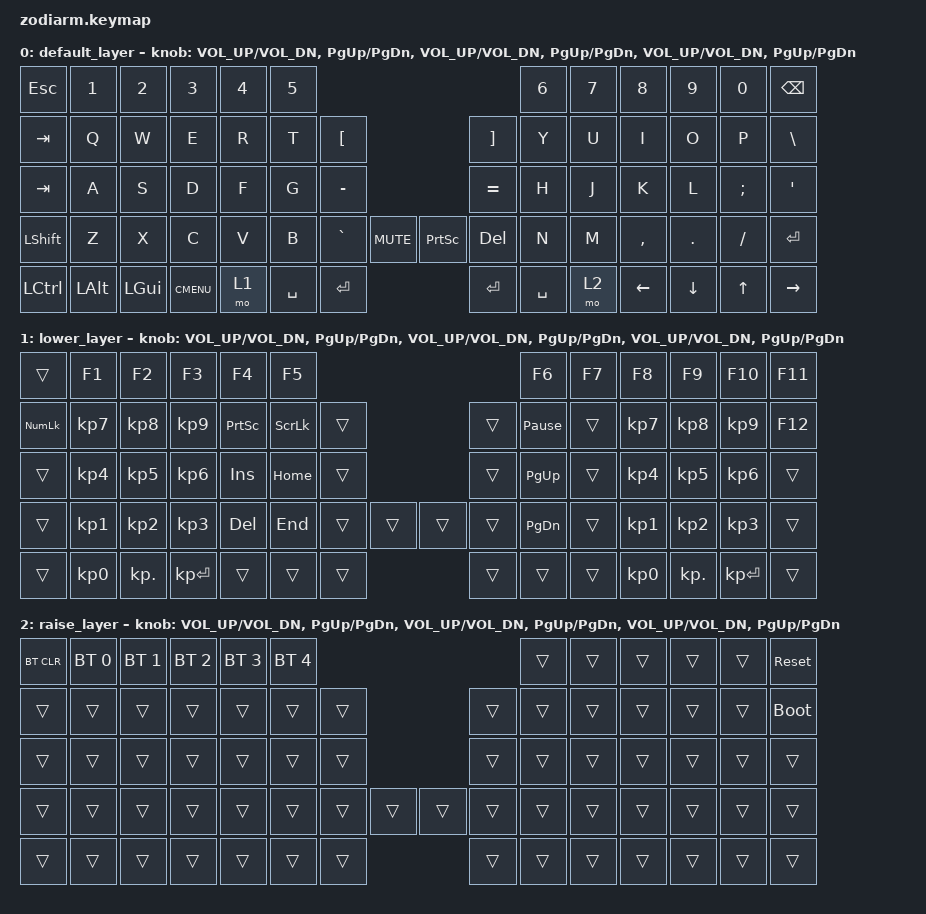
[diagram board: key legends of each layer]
/*
 * Copyright (c) 2020 The ZMK Contributors
 *
 * SPDX-License-Identifier: MIT
 */

#include <behaviors.dtsi>
#include <dt-bindings/zmk/keys.h>
#include <dt-bindings/zmk/bt.h>

/ {
    keymap {
        compatible = "zmk,keymap";

        default_layer {
// ------------------------------------------------------------------------------------------------------------
// |  ESC  |  1  |  2  |  3   |  4   |  5   |                                  |  6   |  7    |  8    |  9   |   0   | BKSPC |
// |  TAB  |  Q  |  W  |  E   |  R   |  T   |   [    |                 |   ]   |  Y   |  U    |  I    |  O   |   P   |   \   |
// |  CAPS |  A  |  S  |  D   |  F   |  G   |   -    |                 |   =   |  H   |  J    |  K    |  L   |   ;   |   '   |
// | SHIFT |  Z  |  X  |  C   |  V   |  B   |   `    | MUTE  | | PRNT  |  DEL  |  N   |  M    |  ,    |  .   |   /   | ENTER |
// | CTRL  | ALT | GUI | MENU | LOWER|     SPACE     | ENTER | | ENTER |    SPACE     | RAISE| LEFT  | DOWN  |  UP   | RIGHT |
            bindings = <
&kp ESC   &kp N1 &kp N2   &kp N3   &kp N4    &kp N5                                           &kp N6 &kp N7 &kp N8    &kp N9   &kp N0   &kp BSPC
&kp TAB   &kp Q  &kp W    &kp E    &kp R     &kp T &kp LBKT                         &kp RBKT  &kp Y  &kp U  &kp I     &kp O    &kp P    &kp BSLH
&kp TAB   &kp A  &kp S    &kp D    &kp F     &kp G &kp MINUS                        &kp EQUAL &kp H  &kp J  &kp K     &kp L    &kp SEMI &kp SQT
&kp LSHFT &kp Z  &kp X    &kp C    &kp V     &kp B &kp GRAVE &kp C_MUTE  &kp PSCRN  &kp DEL   &kp N  &kp M  &kp COMMA &kp DOT  &kp FSLH &kp RET
&kp LCTRL &kp LALT &kp LGUI &kp K_CMENU &mo 1   &kp SPACE    &kp RET     &kp RET      &kp SPACE      &mo 2  &kp LEFT  &kp DOWN &kp UP   &kp RIGHT
            >;

            sensor-bindings = <&inc_dec_kp C_VOL_UP C_VOL_DN &inc_dec_kp PG_UP PG_DN &inc_dec_kp C_VOL_UP C_VOL_DN &inc_dec_kp PG_UP PG_DN &inc_dec_kp C_VOL_UP C_VOL_DN &inc_dec_kp PG_UP PG_DN>;
        };

        lower_layer {
// ------------------------------------------------------------------------------------------------------------
// |       | F1  | F2  |  F3  |  F4  |  F5  |                                  |  F6  |  F7   |  F8   |  F9  |  F10  |  F11  |
// | N.LC  |  7  |  8  |   9  |PRTSC | SCRLK|        |                 |       | PAUSE|       |   7   |   8  |   9   |  F12  |
// |       |  4  |  5  |   6  | INS  | HOME |        |                 |       |  PGUP|       |   4   |   5  |   6   |       |
// |       |  1  |  2  |   3  | DEL  |  END |        |       | |       |       |  PGDN|       |   1   |   2  |   3   |       |
// |       |  0  |  .  | Enter|      |               |       | |       |              |       |   0   |   .  | Enter |       |
            bindings = <
&trans    &kp F1   &kp F2   &kp F3   &kp F4    &kp F5                                     &kp F6          &kp F7  &kp F8    &kp F9   &kp F10  &kp F11
&kp KP_NUM &kp KP_N7 &kp KP_N8 &kp KP_N9  &kp PSCRN &kp SLCK &trans                &trans &kp PAUSE_BREAK &trans  &kp KP_N7 &kp KP_N8 &kp KP_N9   &kp F12
&trans     &kp KP_N4 &kp KP_N5 &kp KP_N6  &kp INS   &kp HOME &trans                &trans &kp PG_UP       &trans  &kp KP_N4 &kp KP_N5 &kp KP_N6   &trans
&trans     &kp KP_N1 &kp KP_N2 &kp KP_N3  &kp DEL   &kp END &trans &trans  &trans  &trans &kp PG_DN       &trans  &kp KP_N1 &kp KP_N2 &kp KP_N3   &trans
&trans     &kp KP_N0 &kp KP_DOT  &kp KP_ENTER &trans &trans &trans         &trans     &trans              &trans  &kp KP_N0 &kp KP_DOT  &kp KP_ENTER &trans
            >;

            sensor-bindings = <&inc_dec_kp C_VOL_UP C_VOL_DN &inc_dec_kp PG_UP PG_DN &inc_dec_kp C_VOL_UP C_VOL_DN &inc_dec_kp PG_UP PG_DN &inc_dec_kp C_VOL_UP C_VOL_DN &inc_dec_kp PG_UP PG_DN>;
        };

        raise_layer {
// ------------------------------------------------------------------------------------------------------------
// |BTCLR  | BT1 | BT2 |  BT3 |  BT4 |  BT5 |                                  |      |       |       |      |       | RESET |
// |       |     |     |      |      |      |        |                 |       |      |       |       |      |       |BLOADER|
// |       |     |     |      |      |      |        |                 |       |      |       |       |      |       |       |
// |       |     |     |      |      |      |        |       | |       |       |      |       |       |      |       |       |
// |       |     |     |      |      |               |       | |       |              |       |       |      |       |       |
            bindings = <
&bt BT_CLR &bt BT_SEL 0 &bt BT_SEL 1 &bt BT_SEL 2 &bt BT_SEL 3 &bt BT_SEL 4                          &trans &trans &trans &trans &trans &sys_reset
&trans   &trans        &trans        &trans       &trans      &trans  &trans                 &trans  &trans &trans &trans &trans &trans &bootloader
&trans   &trans        &trans        &trans       &trans      &trans  &trans                 &trans  &trans &trans &trans &trans &trans &trans
&trans   &trans        &trans        &trans       &trans      &trans  &trans &trans  &trans  &trans  &trans &trans &trans &trans &trans &trans
&trans   &trans        &trans        &trans       &trans         &trans      &trans  &trans      &trans     &trans &trans &trans &trans &trans
            >;

            sensor-bindings = <&inc_dec_kp C_VOL_UP C_VOL_DN &inc_dec_kp PG_UP PG_DN &inc_dec_kp C_VOL_UP C_VOL_DN &inc_dec_kp PG_UP PG_DN &inc_dec_kp C_VOL_UP C_VOL_DN &inc_dec_kp PG_UP PG_DN>;
        };
    };
};
